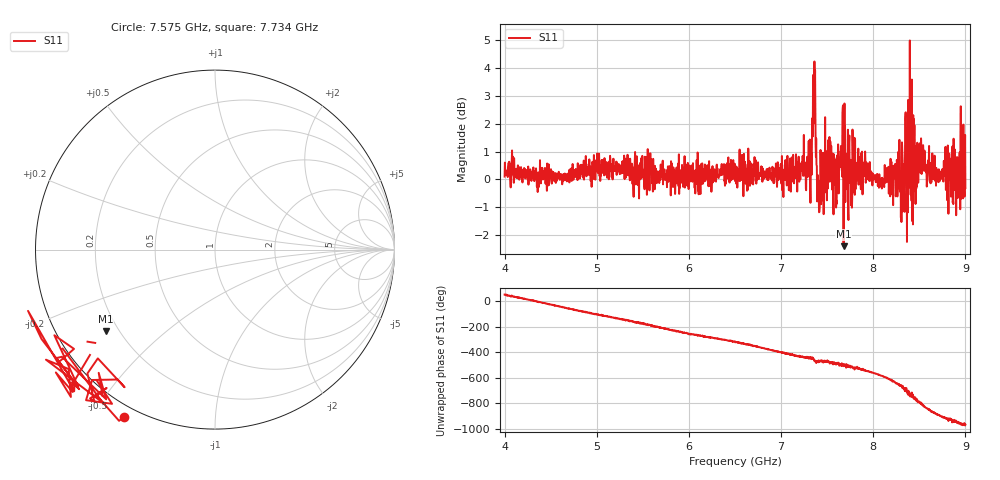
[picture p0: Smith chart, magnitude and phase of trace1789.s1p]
! Created with skrf 1.8.0 (http://scikit-rf.org).
# Hz S RI R 50.0
!freq ReS11 ImS11
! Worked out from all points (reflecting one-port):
!   1601 points, 4 GHz to 9 GHz, reference 50 ohm
!   lowest |S11| = -2.4 dB at 7.678 GHz (marker M1), VSWR 7.31, Z = 7.58 - j16.3 ohm
!   phase of S11 starts at 53 deg and turns -1022 deg over the sweep
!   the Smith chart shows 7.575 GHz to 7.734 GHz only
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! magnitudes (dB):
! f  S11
! 4 GHz  0.1
! 4.625 GHz  -0.2
! 5.25 GHz  0.2
! 5.875 GHz  0.1
! 6.5 GHz  -0.1
! 7.125 GHz  0.6
! 7.294 GHz  0.1
! 7.319 GHz  -0.8
! 7.359 GHz  2.6
! 7.4 GHz  0.2
! 7.412 GHz  -1.2
! 7.525 GHz  1.5
! 7.591 GHz  0.7
! 7.65 GHz  1.2
! 7.678 GHz  -2.4
! 7.75 GHz  0.1
! 8.094 GHz  -0.3
! 8.259 GHz  0.5
! 8.316 GHz  1.0
! 8.338 GHz  -1.0
! 8.35 GHz  2.4
! 8.375 GHz  -1.2
! 8.447 GHz  1.9
! 8.519 GHz  1.5
! 8.634 GHz  0.4
! 8.919 GHz  -0.1
! 8.972 GHz  0.4
! 9 GHz  -0.3
